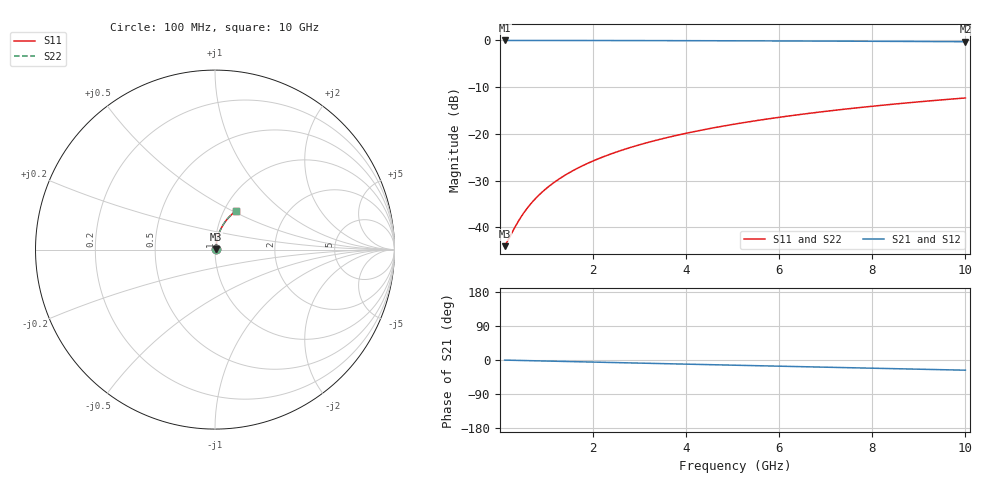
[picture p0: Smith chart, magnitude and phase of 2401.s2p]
# Hz S RI R 50.00
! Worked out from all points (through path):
!   100 points, 100 MHz to 10 GHz, reference 50 ohm
!   highest |S21| = -0.05 dB at 100 MHz (marker M1); lowest = -0.3 dB at 10 GHz (marker M2)
!   group delay of S21, straight-line fit = 7.48 ps
!   lowest |S11| = -44.0 dB at 100 MHz (marker M3), VSWR 1.01, Z = 50.6 + j0.256 ohm
!   |S11| at or under -10 dB: start of sweep to end of sweep
!   |S22| runs from -44.0 to -12.3 dB; largest |S21 - S12| = 0
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1e8  0.00578 0.00253  0.9942 -0.00475  0.9942 -0.00475  0.00578 0.00253
2e8  0.00586 0.00505  0.9941 -0.0095  0.9941 -0.0095  0.00586 0.00505
3e8  0.00594 0.00758  0.994 -0.0142  0.994 -0.0142  0.00594 0.00758
4e8  0.00605 0.0101  0.9939 -0.019  0.9939 -0.019  0.00605 0.0101
5e8  0.00618 0.0126  0.9937 -0.0237  0.9937 -0.0237  0.00618 0.0126
6e8  0.00633 0.0151  0.9936 -0.0285  0.9936 -0.0285  0.00633 0.0151
7e8  0.0065 0.0177  0.9934 -0.0332  0.9934 -0.0332  0.0065 0.0177
8e8  0.00669 0.0202  0.9931 -0.038  0.9931 -0.038  0.00669 0.0202
1e9  0.00715 0.0252  0.9926 -0.0474  0.9926 -0.0474  0.00715 0.0252
1.2e9  0.0077 0.0302  0.9919 -0.0569  0.9919 -0.0569  0.0077 0.0302
1.5e9  0.0087 0.0377  0.9907 -0.0711  0.9907 -0.0711  0.0087 0.0377
1.8e9  0.00992 0.0452  0.9892 -0.0852  0.9892 -0.0852  0.00992 0.0452
2.1e9  0.0113 0.0526  0.9875 -0.0993  0.9875 -0.0993  0.0113 0.0526
2.5e9  0.0136 0.0624  0.9848 -0.118  0.9848 -0.118  0.0136 0.0624
2.9e9  0.0162 0.0721  0.9817 -0.1366  0.9817 -0.1366  0.0162 0.0721
3.4e9  0.0199 0.0841  0.9772 -0.1598  0.9772 -0.1598  0.0199 0.0841
4.2e9  0.027 0.1028  0.9685 -0.1963  0.9685 -0.1963  0.027 0.1028
5.1e9  0.0367 0.1231  0.9567 -0.2366  0.9567 -0.2366  0.0367 0.1231
5.9e9  0.0467 0.1402  0.9445 -0.2717  0.9445 -0.2717  0.0467 0.1402
6.7e9  0.0578 0.1565  0.9308 -0.3058  0.9308 -0.3058  0.0578 0.1565
8.4e9  0.0851 0.1878  0.897 -0.3752  0.897 -0.3752  0.0851 0.1878
1e10  0.1146 0.2127  0.8599 -0.436  0.8599 -0.436  0.1146 0.2127
